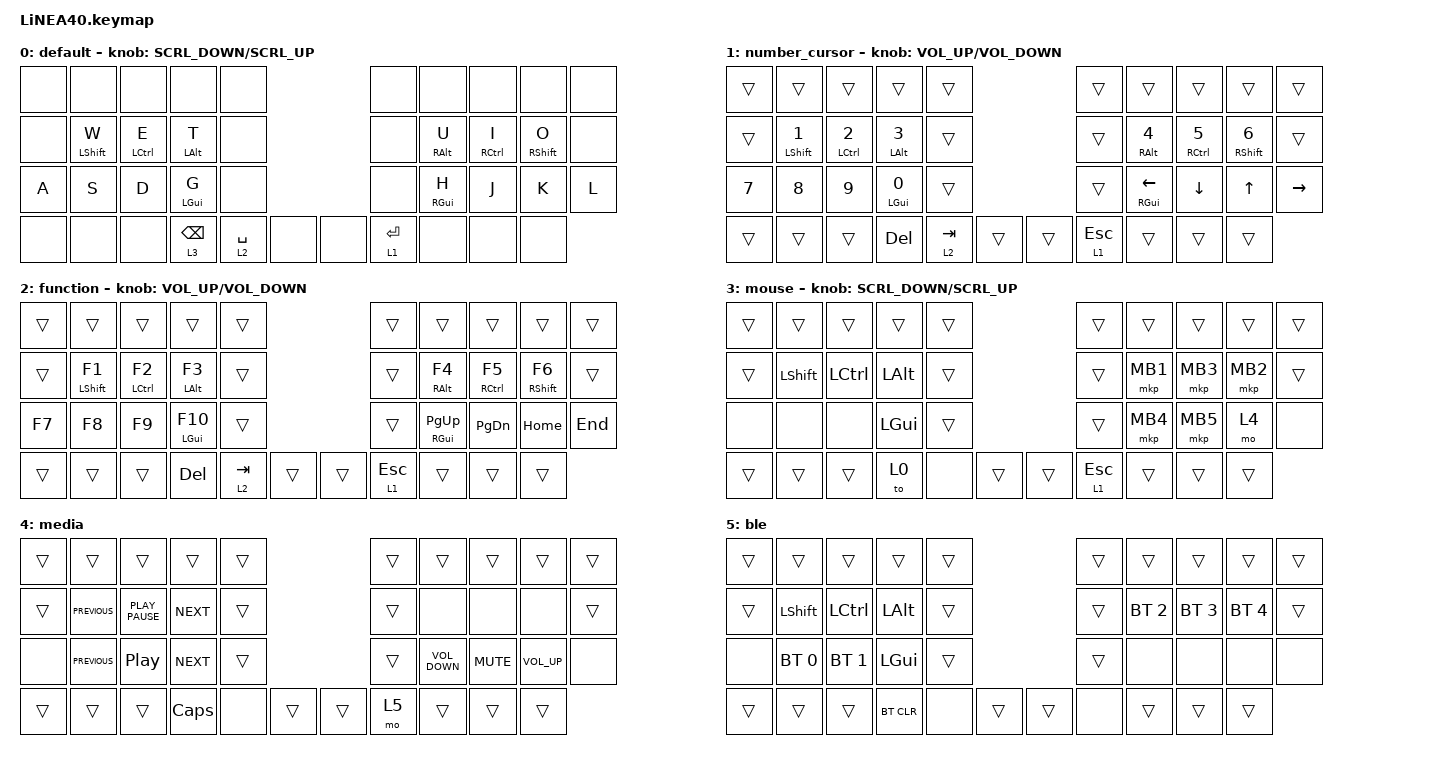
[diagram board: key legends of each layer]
#define ZMK_POINTING_DEFAULT_SCRL_VAL 150

#include <dt-bindings/zmk/input_transform.h>
#include <input/processors.dtsi>
#include <zephyr/dt-bindings/input/input-event-codes.h>
#include <behaviors.dtsi>
#include <dt-bindings/zmk/bt.h>
#include <dt-bindings/zmk/keys.h>
#include <dt-bindings/zmk/pointing.h>

#define MOUSE 1
#define MARK 2
#define CURSOR 3
#define FUNCTION 4
#define SCROLL 5
#define WIRELESS 6

//mouse cursol

&mmv {
    delay-ms = <20>;
    trigger-period-ms = <5>;
    time-to-max-speed-ms = <100>;
    acceleration-exponent = <2>;
};

//mouse scroll

&msc {
    delay-ms = <3>;
    trigger-period-ms = <3>;
    time-to-max-speed-ms = <100>;
    acceleration-exponent = <0>;
};

/ {
    input_processors {
        zip_wheel_scaler: zip_wheel_scaler {
            compatible = "zmk,input-processor-scaler";
            #input-processor-cells = <2>;
            type = <INPUT_EV_REL>;
            codes = <INPUT_REL_WHEEL>;
            track-remainders;
        };
    };
};

&msc_input_listener {
    speed_up {
        layers = <FUNCTION>;
        input-processors = <&zip_wheel_scaler 3 1>; //スクロールを3倍速にする
    };
};

&trackball_listener {
    scroller {
        layers = <SCROLL>;
        input-processors =
            <&zip_xy_transform INPUT_TRANSFORM_Y_INVERT>,
            //スクロール方向を逆転,,,,,,,,,,,,,,,,,,,,,,,,,,
            <&zip_xy_to_scroll_mapper>;
    };
};

/ {
    combos {
        compatible = "zmk,combos";

        n {
            bindings = <&kp N>;
            key-positions = <16 17>;
            layers = <0>;
        };

        m {
            bindings = <&kp M>;
            key-positions = <17 18>;
            layers = <0>;
        };

        x {
            bindings = <&kp X>;
            key-positions = <16 18>;
            layers = <0>;
        };

        y {
            bindings = <&clt 5 Y>;
            key-positions = <27 28>;
            layers = <0>;
            timeout-ms = <80>;
        };

        p {
            bindings = <&kp P>;
            key-positions = <26 27>;
            layers = <0>;
        };

        f {
            bindings = <&kp F>;
            key-positions = <13 12>;
            layers = <0>;
        };

        r {
            bindings = <&kp R>;
            key-positions = <11 12>;
            layers = <0>;
        };

        q {
            bindings = <&kp Q>;
            key-positions = <11 13>;
            layers = <0>;
        };

        v {
            bindings = <&kp V>;
            key-positions = <22 23>;
            layers = <0>;
        };

        c {
            bindings = <&kp C>;
            key-positions = <21 22>;
            layers = <0>;
        };

        backslash {
            bindings = <&kp BACKSLASH>;
            key-positions = <11 12>;
            layers = <1>;
        };

        leftbracket {
            bindings = <&kp LEFT_BRACKET>;
            key-positions = <12 13>;
            layers = <1>;
        };

        rightbraket {
            bindings = <&kp RIGHT_BRACKET>;
            key-positions = <16 17>;
            layers = <1>;
        };

        slash {
            bindings = <&kp SLASH>;
            key-positions = <17 18>;
            layers = <1>;
        };

        medialayer {
            bindings = <&mo 4>;
            key-positions = <20 29>;
            layers = <0>;
        };

        colon {
            bindings = <&kp SEMICOLON>;
            key-positions = <26 27>;
            layers = <1>;
        };

        quote {
            bindings = <&kp SQT>;
            key-positions = <27 28>;
            layers = <1>;
        };

        z {
            bindings = <&kp Z>;
            key-positions = <21 23>;
            layers = <0>;
        };

        b {
            bindings = <&kp B>;
            key-positions = <26 28>;
            layers = <0>;
        };

        tilde {
            bindings = <&kp GRAVE>;
            key-positions = <22 23>;
            layers = <1>;
        };

        f11 {
            bindings = <&kp F11>;
            key-positions = <21 22>;
            layers = <2>;
        };

        f12 {
            bindings = <&kp F12>;
            key-positions = <22 23>;
            layers = <2>;
        };

        comma {
            bindings = <&kp COMMA>;
            key-positions = <37 27>;
            layers = <0>;
        };

        period {
            bindings = <&kp PERIOD>;
            key-positions = <37 28>;
            layers = <0>;
        };

        minus {
            bindings = <&kp MINUS>;
            key-positions = <11 12>;
            layers = <2>;
        };

        equal {
            bindings = <&kp EQUAL>;
            key-positions = <17 18>;
            layers = <2>;
        };

        caps {
            bindings = <&caps_word>;
            key-positions = <11 18>;
            layers = <0>;
        };

        single_mouse {
            bindings = <&to 3>;
            key-positions = <29 37>;
            layers = <0>;
        };

        reset_single_mouse {
            bindings = <&to 0>;
            key-positions = <29 37>;
            layers = <3>;
        };
    };

    behaviors {
        re_kp: sensor_rotate_kp {
            compatible = "zmk,behavior-sensor-rotate-var";
            #sensor-binding-cells = <2>;
            bindings = <&kp>, <&kp>;
        };

        mouse_scrl: mouse_wheel_scrl {
            compatible = "zmk,behavior-sensor-rotate-var";
            #sensor-binding-cells = <2>;
            bindings = <&msc>, <&msc>;

            tap-ms = <20>;
        };

        cmt: custom_mod_tap {
            compatible = "zmk,behavior-hold-tap";
            label = "CUSTOM_MOD_TAP";
            bindings = <&kp>, <&kp>;

            #binding-cells = <2>;
            tapping-term-ms = <160>;
            quick-tap-ms = <150>;
            flavor = "tap-preferred";
        };

        clt: custom_layer_tap {
            compatible = "zmk,behavior-hold-tap";
            label = "CUSTOM_LAYER_TAP";
            bindings = <&mo>, <&kp>;

            #binding-cells = <2>;
            tapping-term-ms = <160>;
            quick-tap-ms = <150>;
            flavor = "tap-preferred";
        };
    };

    keymap {
        compatible = "zmk,keymap";

        default {
            bindings = <
&none  &none              &none                &none             &none                         &none         &none             &none                 &none               &none
&none  &cmt LEFT_SHIFT W  &cmt LEFT_CONTROL E  &cmt LEFT_ALT T   &none                         &none         &cmt RIGHT_ALT U  &cmt RIGHT_CONTROL I  &cmt RIGHT_SHIFT O  &none
&kp A  &kp S              &kp D                &cmt LEFT_GUI G   &none                         &none         &cmt RIGHT_GUI H  &kp J                 &kp K               &kp L
&none  &none              &none                &clt 3 BACKSPACE  &clt 2 SPACE  &none    &none  &clt 1 ENTER                    &none                 &none               &none
            >;

            sensor-bindings = <&mouse_scrl SCRL_DOWN SCRL_UP>;
        };

        number_cursor {
            bindings = <
&trans  &trans                    &trans                      &trans                  &trans                        &trans         &trans                     &trans                 &trans                     &trans
&trans  &cmt LEFT_SHIFT NUMBER_1  &cmt LEFT_CONTROL NUMBER_2  &cmt LEFT_ALT NUMBER_3  &trans                        &trans         &cmt RIGHT_ALT NUMBER_4    &cmt RIGHT_CONTROL N5  &cmt RIGHT_SHIFT NUMBER_6  &trans
&kp N7  &kp N8                    &kp N9                      &cmt LEFT_GUI N0        &trans                        &trans         &cmt RIGHT_GUI LEFT_ARROW  &kp DOWN_ARROW         &kp UP_ARROW               &kp RIGHT_ARROW
&trans  &trans                    &trans                      &kp DELETE              &clt 2 TAB  &trans    &trans  &clt 1 ESCAPE                             &trans                 &trans                     &trans
            >;

            sensor-bindings = <&inc_dec_kp K_VOLUME_UP K_VOLUME_DOWN>;
        };

        function {
            bindings = <
&trans  &trans              &trans                &trans             &trans                        &trans         &trans                  &trans                 &trans               &trans
&trans  &cmt LEFT_SHIFT F1  &cmt LEFT_CONTROL F2  &cmt LEFT_ALT F3   &trans                        &trans         &cmt RIGHT_ALT F4       &cmt RIGHT_CONTROL F5  &cmt RIGHT_SHIFT F6  &trans
&kp F7  &kp F8              &kp F9                &cmt LEFT_GUI F10  &trans                        &trans         &cmt RIGHT_GUI PAGE_UP  &kp PAGE_DOWN          &kp HOME             &kp END
&trans  &trans              &trans                &kp DELETE         &clt 2 TAB  &trans    &trans  &clt 1 ESCAPE                          &trans                 &trans               &trans
            >;

            sensor-bindings = <&inc_dec_kp K_VOLUME_UP K_VOLUME_DOWN>;
        };

        mouse {
            bindings = <
&trans  &trans          &trans            &trans        &trans                    &trans         &trans    &trans    &trans    &trans
&trans  &kp LEFT_SHIFT  &kp LEFT_CONTROL  &kp LEFT_ALT  &trans                    &trans         &mkp MB1  &mkp MB3  &mkp MB2  &trans
&none   &none           &none             &kp LEFT_GUI  &trans                    &trans         &mkp MB4  &mkp MB5  &mo 4     &none
&trans  &trans          &trans            &to 0         &none   &trans    &trans  &clt 1 ESCAPE            &trans    &trans    &trans
            >;

            sensor-bindings = <&mouse_scrl SCRL_DOWN SCRL_UP>;
        };

        media {
            bindings = <
&trans  &trans          &trans            &trans        &trans                    &trans  &trans             &trans      &trans           &trans
&trans  &kp K_PREVIOUS  &kp K_PLAY_PAUSE  &kp K_NEXT    &trans                    &trans  &none              &none       &none            &trans
&none   &kp C_PREVIOUS  &kp C_PLAY_PAUSE  &kp C_NEXT    &trans                    &trans  &kp K_VOLUME_DOWN  &kp K_MUTE  &kp K_VOLUME_UP  &none
&trans  &trans          &trans            &kp CAPSLOCK  &none   &trans    &trans  &mo 5                      &trans      &trans           &trans
            >;
        };

        ble {
            bindings = <
&trans  &trans          &trans            &trans        &trans                    &trans  &trans        &trans        &trans        &trans
&trans  &kp LEFT_SHIFT  &kp LEFT_CONTROL  &kp LEFT_ALT  &trans                    &trans  &bt BT_SEL 2  &bt BT_SEL 3  &bt BT_SEL 4  &trans
&none   &bt BT_SEL 0    &bt BT_SEL 1      &kp LEFT_GUI  &trans                    &trans  &none         &none         &none         &none
&trans  &trans          &trans            &bt BT_CLR    &none   &trans    &trans  &none                 &trans        &trans        &trans
            >;
        };

        //1
        //2
        //3
        //4
        //5
        //6
    };
};
